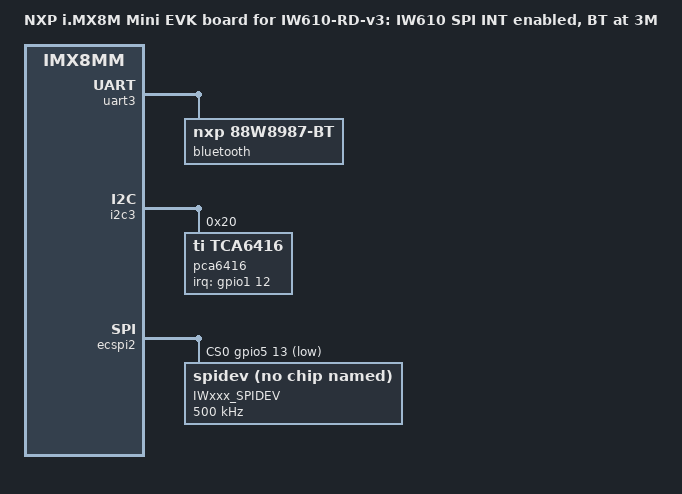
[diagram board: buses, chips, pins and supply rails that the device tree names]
// SPDX-License-Identifier: (GPL-2.0 OR MIT)
/*
 * Copyright 2025 NXP
 */

/* Supported for chipsets:
 - IW610
 Chip support list end */

/dts-v1/;

#include "imx8mm-evk-usd-wifi.dts"

/ {
	// Patch for IW61x:
	// v1: ffu_gpio_irq (make GPIO_SPI_INT interruptible), bluetooth at 3M
	// v2: gpio naming and options description in model
	// v3: IW610 RD hardware board only
	model = "NXP i.MX8M Mini EVK board for IW610-RD-v3: IW610 SPI INT enabled, BT at 3M";
};

&uart1 {
	/delete-node/ bluetooth;
};

&uart3 {
	bluetooth {
		compatible = "nxp,88w8987-bt";
		fw-init-baudrate = <3000000>;
	};
};

&i2c3 {
	pca6416: gpio@20 {
		compatible = "ti,tca6416";
		reg = <0x20>;
		gpio-controller;
		#gpio-cells = <2>;
		interrupt-parent = <&gpio1>;
		interrupts = <12 IRQ_TYPE_EDGE_FALLING>;
		pinctrl-names = "default";
		pinctrl-0 = <&pinctrl_pca6416_irq>;
		gpio-line-names = "", "", "", "", "", "", "", "", "", "", "", "", "IWxxx_NB_SPI_INT", "", "IWxxx_NB_IND_RST_15_4";
	};
};

&ecspi2 {
	#address-cells = <1>;
	#size-cells = <0>;
	fsl,spi-num-chipselects = <1>;
	pinctrl-names = "default";
	pinctrl-0 = <&pinctrl_espi2>;
	cs-gpios = <&gpio5 13 GPIO_ACTIVE_LOW>;
	status = "okay";

	spidev0: spi@0 {
		reg = <0>;
		compatible = "rohm,dh2228fv";
		spi-max-frequency = <500000>;
		label="IWxxx_SPIDEV";
	};

};

&iomuxc {
	pinctrl_pca6416_irq: pca6416irq {
		fsl,pins = <
			MX8MM_IOMUXC_GPIO1_IO12_GPIO1_IO12		0x141
		>;
	};

	pinctrl_espi2: espi2grp {
		fsl,pins = <
			MX8MM_IOMUXC_ECSPI2_SCLK_ECSPI2_SCLK		0x082
			MX8MM_IOMUXC_ECSPI2_MOSI_ECSPI2_MOSI		0x082
			MX8MM_IOMUXC_ECSPI2_MISO_ECSPI2_MISO		0x082
			MX8MM_IOMUXC_ECSPI2_SS0_GPIO5_IO13		0x000
		>;
	};

	trusty {
		compatible = "android,trusty-smc-v1";
		ranges;
		#address-cells = <2>;
		#size-cells = <2>;
		trusty-irq {
			compatible = "android,trusty-irq-v1";
			interrupt-ranges = < 0 15 0>;
			ipi-range = <8 15 8>;
		};
		trusty-virtio {
			compatible = "android,trusty-virtio-v1";
		};
		trusty-log {
			compatible = "android,trusty-log-v1";
		};
	};
};
